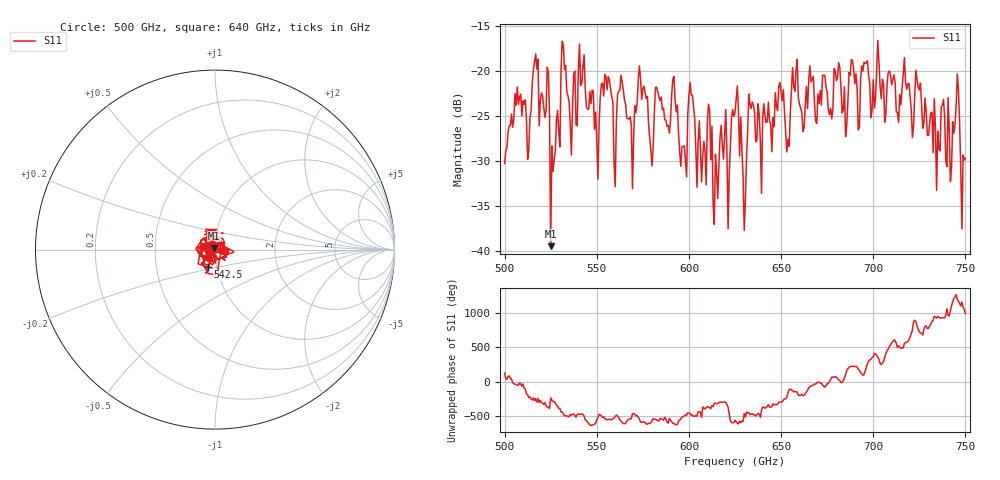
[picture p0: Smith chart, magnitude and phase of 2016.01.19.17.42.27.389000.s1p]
!Created with skrf (http://scikit-rf.org).
# GHz S RI R 50.0
!freq ReS11 ImS11
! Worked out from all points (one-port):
!   401 points, 500 GHz to 750 GHz, reference 50 ohm
!   lowest |S11| = -39.5 dB at 525 GHz (marker M1), VSWR 1.02, Z = 49.4 + j0.872 ohm
!   |S11| at or under -10 dB: start of sweep to end of sweep
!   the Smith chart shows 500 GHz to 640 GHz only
!   S11 on the Smith chart (normalised r, x): 500 GHz: 0.96, +0.05; 542.5 GHz: 0.91, -0.18; 640 GHz: 1.11, -0.02
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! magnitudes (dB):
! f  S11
! 500 GHz  -30.3
! 506.9 GHz  -21.8
! 513.1 GHz  -28.7
! 516.9 GHz  -18.1
! 525 GHz  -39.5
! 531.2 GHz  -16.7
! 535.6 GHz  -26.0
! 542.5 GHz  -19.5
! 550 GHz  -27.6
! 562.5 GHz  -22.2
! 568.8 GHz  -26.0
! 573.8 GHz  -20.8
! 579.4 GHz  -28.9
! 583.1 GHz  -22.3
! 593.8 GHz  -23.8
! 611.2 GHz  -24.4
! 614.4 GHz  -29.3
! 625 GHz  -24.7
! 630 GHz  -37.7
! 633.8 GHz  -24.2
! 640 GHz  -25.2
! 653.8 GHz  -27.6
! 656.2 GHz  -19.6
! 687.5 GHz  -20.5
! 718.8 GHz  -21.5
! 735 GHz  -26.7
! 745.6 GHz  -20.4
! 750 GHz  -29.7
